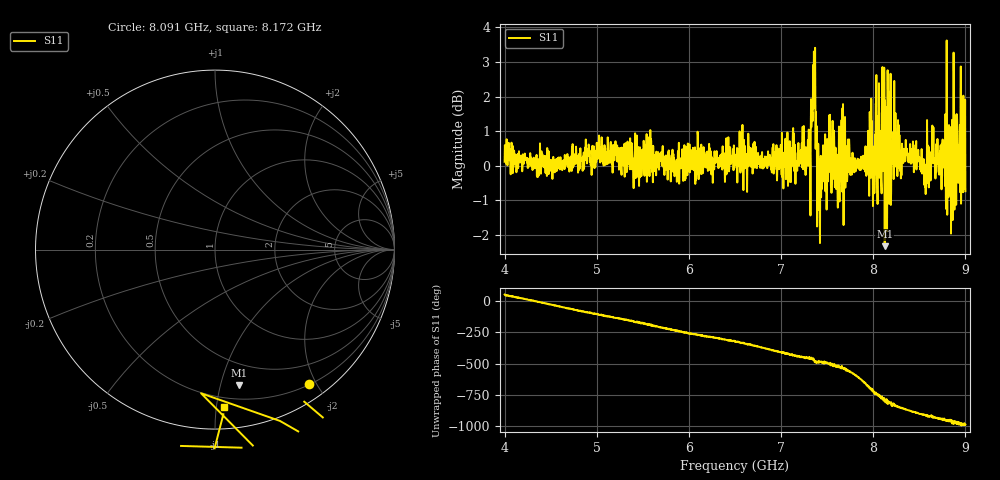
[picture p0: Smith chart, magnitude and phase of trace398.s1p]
! Created with skrf 1.8.0 (http://scikit-rf.org).
# Hz S RI R 50.0
!freq ReS11 ImS11
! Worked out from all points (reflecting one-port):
!   1601 points, 4 GHz to 9 GHz, reference 50 ohm
!   lowest |S11| = -2.3 dB at 8.125 GHz (marker M1), VSWR 7.53, Z = 15.7 - j57.2 ohm
!   phase of S11 starts at 54 deg and turns -1044 deg over the sweep
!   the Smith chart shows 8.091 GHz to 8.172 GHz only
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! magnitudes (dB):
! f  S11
! 4 GHz  0.1
! 4.625 GHz  -0.1
! 5.25 GHz  0.1
! 5.875 GHz  0.0
! 6.5 GHz  0.0
! 7.125 GHz  0.6
! 7.297 GHz  0.2
! 7.347 GHz  2.7
! 7.362 GHz  3.1
! 7.4 GHz  -1.3
! 7.416 GHz  -0.9
! 7.509 GHz  0.3
! 7.609 GHz  0.3
! 7.669 GHz  0.8
! 7.75 GHz  0.2
! 7.962 GHz  1.6
! 7.994 GHz  0.0
! 8.053 GHz  0.2
! 8.066 GHz  0.8
! 8.097 GHz  0.6
! 8.125 GHz  -2.3
! 8.197 GHz  0.5
! 8.375 GHz  0.2
! 8.556 GHz  -0.6
! 8.775 GHz  0.7
! 8.828 GHz  -0.7
! 8.972 GHz  0.9
! 9 GHz  -0.7
